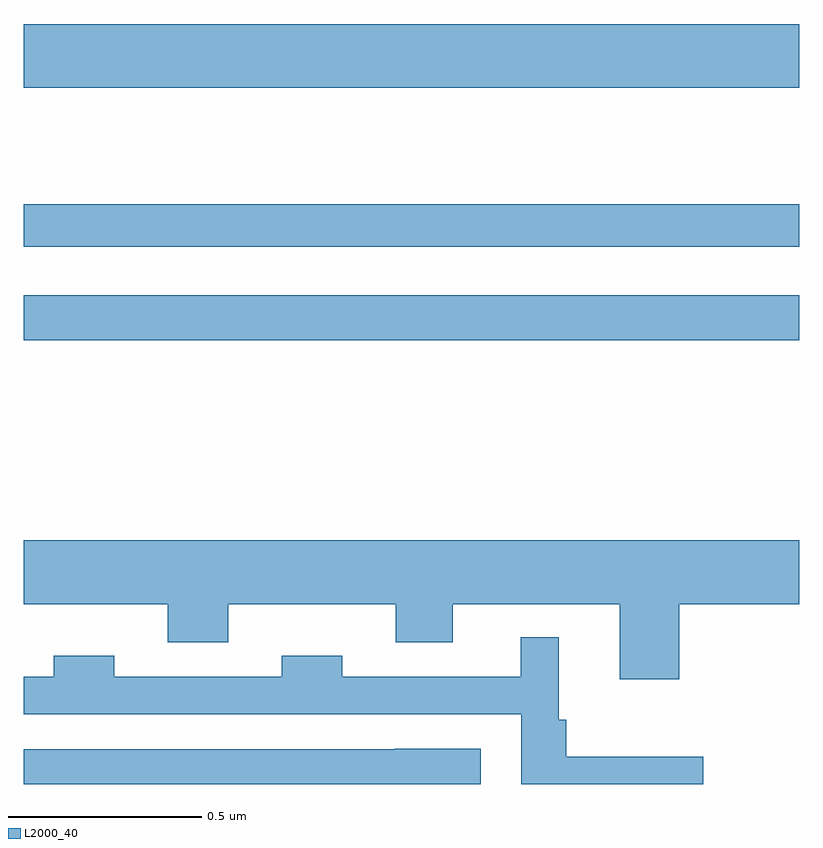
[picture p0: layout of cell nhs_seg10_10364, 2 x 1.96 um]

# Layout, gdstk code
import gdstk
lib = gdstk.Library(unit=1e-6, precision=1e-09)
def R(c, l, rs):  # rectangles x0, y0, x1, y1
    for r in rs: c.add(gdstk.rectangle(r[:2], r[2:], *l))
def P(c, l, *ps):  # polygons
    for p in ps: c.add(gdstk.Polygon(p, *l))
L2000_40 = (2000, 40)

nhs_seg10_10364 = lib.new_cell('nhs_seg10_10364')
R(nhs_seg10_10364, L2000_40, [(241,1319.644,243,1319.76), (241,1319.886,243,1319.995), (241,1320.296,243,1320.46)])
P(nhs_seg10_10364, L2000_40, [(242.69,1318.964),(243,1318.964),(243,1319.128),(241,1319.128),(241,1318.964),(241.372,1318.964),(241.372,1318.865),(241.527,1318.865),(241.527,1318.964),(241.96,1318.964),(241.96,1318.865),(242.107,1318.865),(242.107,1318.964),(242.537,1318.964),(242.537,1318.77),(242.69,1318.77)],
  [(242.753,1318.57),(242.399,1318.57),(242.399,1318.666),(242.38,1318.666),(242.38,1318.879),(242.282,1318.879),(242.282,1318.776),(241.821,1318.776),(241.821,1318.831),(241.666,1318.831),(241.666,1318.776),(241.233,1318.776),(241.233,1318.831),(241.078,1318.831),(241.078,1318.776),(241,1318.776),(241,1318.68),(242.283,1318.68),(242.283,1318.5),(242.753,1318.5)],
  [(242.179,1318.591),(241.957,1318.591),(241.957,1318.59),(241,1318.59),(241,1318.5),(242.179,1318.5)])

lib.write_gds('nhs_seg10_10364.gds')
